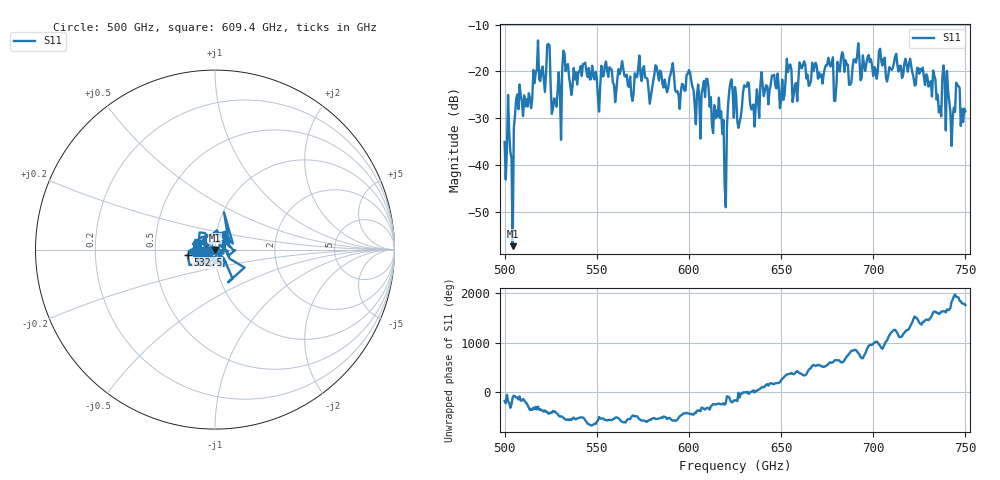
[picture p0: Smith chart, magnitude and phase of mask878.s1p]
!Created with skrf (http://scikit-rf.org).
# GHz S MA R 50.0
!freq magS11 angS11
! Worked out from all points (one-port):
!   401 points, 500 GHz to 750 GHz, reference 50 ohm
!   lowest |S11| = -57.4 dB at 504.4 GHz (marker M1), VSWR 1.00, Z = 50 - j0.133 ohm
!   |S11| at or under -10 dB: start of sweep to end of sweep
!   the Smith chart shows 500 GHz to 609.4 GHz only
!   S11 on the Smith chart (normalised r, x): 500 GHz: 0.97, -0.00; 532.5 GHz: 0.73, -0.04; 609.4 GHz: 1.13, +0.12
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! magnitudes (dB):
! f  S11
! 500 GHz  -35.1
! 502.5 GHz  -33.1
! 504.4 GHz  -57.4
! 506.9 GHz  -24.9
! 513.8 GHz  -25.7
! 516.9 GHz  -20.3
! 523.8 GHz  -14.1
! 526.9 GHz  -25.8
! 531.2 GHz  -19.8
! 532.5 GHz  -16.2
! 550.6 GHz  -25.5
! 562.5 GHz  -20.6
! 579.4 GHz  -25.3
! 590.6 GHz  -19.6
! 593.8 GHz  -24.2
! 600 GHz  -19.7
! 605 GHz  -22.8
! 609.4 GHz  -21.6
! 617.5 GHz  -28.5
! 619.4 GHz  -44.2
! 622.5 GHz  -22.4
! 625 GHz  -23.4
! 656.2 GHz  -26.5
! 683.8 GHz  -16.6
! 687.5 GHz  -22.9
! 690.6 GHz  -18.1
! 718.8 GHz  -20.1
! 750 GHz  -28.6
